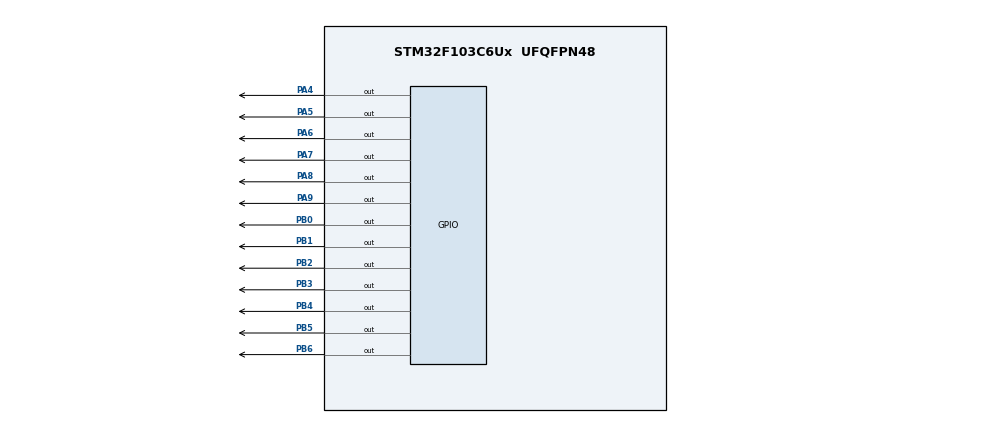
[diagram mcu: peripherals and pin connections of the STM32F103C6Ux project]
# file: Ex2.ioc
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Mcu.Family=STM32F1
Mcu.Name=STM32F103C6Ux
Mcu.Package=UFQFPN48
NVIC.PriorityGroup=NVIC_PRIORITYGROUP_4
NVIC.TIM2_IRQn=true\:0\:0\:false\:false\:true\:true\:true
PA4.Signal=GPIO_Output
PA5.Signal=GPIO_Output
PA6.Signal=GPIO_Output
PA7.Signal=GPIO_Output
PA8.Signal=GPIO_Output
PA9.Signal=GPIO_Output
PB0.Signal=GPIO_Output
PB1.Signal=GPIO_Output
PB2.Signal=GPIO_Output
PB3.Signal=GPIO_Output
PB4.Signal=GPIO_Output
PB5.Signal=GPIO_Output
PB6.Signal=GPIO_Output
ProjectManager.HeapSize=0x200
ProjectManager.StackSize=0x400
ProjectManager.TargetToolchain=STM32CubeIDE
RCC.APB1Freq_Value=8000000
RCC.APB2Freq_Value=8000000
TIM2.Period=9
TIM2.Prescaler=7999
VP_SYS_VS_ND.Mode=No_Debug
VP_TIM2_VS_ClockSourceINT.Mode=Internal
board=custom

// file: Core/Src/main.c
/* USER CODE BEGIN Header */
/**
  ******************************************************************************
  * @file           : main.c
  * @brief          : Main program body
  ******************************************************************************
  * @attention
  *
  * <h2><center>&copy; Copyright (c) 2022 STMicroelectronics.
  * All rights reserved.</center></h2>
  *
  * This software component is licensed by ST under BSD 3-Clause license,
  * the "License"; You may not use this file except in compliance with the
  * License. You may obtain a copy of the License at:
  *                        opensource.org/licenses/BSD-3-Clause
  *
  ******************************************************************************
  */
/* USER CODE END Header */
#include "main.h"

/* USER CODE BEGIN Includes */
#include "software_timer.h"

/* USER CODE END Includes */

TIM_HandleTypeDef htim2;

void SystemClock_Config(void);
static void MX_GPIO_Init(void);
static void MX_TIM2_Init(void);

/* USER CODE BEGIN 0 */
int arr[10] = {
		0x00C0,  //0
		0x00F9,  //1
		0x00A4,  //2
		0x00B0,  //3
		0x0099,  //4
		0x0092,  //5
		0x0082,  //6
		0x00F8,  //7
		0x0080,  //8
		0x0090,  //9
};
void display_7segment(int number){
//	HAL_GPIO_WritePin(GPIOB,GPIO_PIN_0,(number>>0)&0x01);
//	HAL_GPIO_WritePin(GPIOB,GPIO_PIN_1,(number>>1)&0x01);
//	HAL_GPIO_WritePin(GPIOB,GPIO_PIN_2,(number>>2)&0x01);
//	HAL_GPIO_WritePin(GPIOB,GPIO_PIN_3,(number>>3)&0x01);
//	HAL_GPIO_WritePin(GPIOB,GPIO_PIN_4,(number>>4)&0x01);
//	HAL_GPIO_WritePin(GPIOB,GPIO_PIN_5,(number>>5)&0x01);
//	HAL_GPIO_WritePin(GPIOB,GPIO_PIN_6,(number>>6)&0x01);
	GPIOB->ODR = arr[number];
}
/* USER CODE END 0 */

int main(void)
{

  /* MCU Configuration--------------------------------------------------------*/

  /* Reset of all peripherals, Initializes the Flash interface and the Systick. */
  HAL_Init();

  /* Configure the system clock */
  SystemClock_Config();

  /* Initialize all configured peripherals */
  MX_GPIO_Init();
  MX_TIM2_Init();
  /* USER CODE BEGIN 2 */
  HAL_TIM_Base_Start_IT (& htim2 ) ;
  /* USER CODE END 2 */

  /* Infinite loop */
  while (1)
  {

  }
}

void SystemClock_Config(void)
{
  RCC_OscInitTypeDef RCC_OscInitStruct = {0};
  RCC_ClkInitTypeDef RCC_ClkInitStruct = {0};

  /** Initializes the RCC Oscillators according to the specified parameters
  * in the RCC_OscInitTypeDef structure.
  */
  RCC_OscInitStruct.OscillatorType = RCC_OSCILLATORTYPE_HSI;
  RCC_OscInitStruct.HSIState = RCC_HSI_ON;
  RCC_OscInitStruct.HSICalibrationValue = RCC_HSICALIBRATION_DEFAULT;
  RCC_OscInitStruct.PLL.PLLState = RCC_PLL_NONE;
  if (HAL_RCC_OscConfig(&RCC_OscInitStruct) != HAL_OK)
  {
    Error_Handler();
  }
  /** Initializes the CPU, AHB and APB buses clocks
  */
  RCC_ClkInitStruct.ClockType = RCC_CLOCKTYPE_HCLK|RCC_CLOCKTYPE_SYSCLK
                              |RCC_CLOCKTYPE_PCLK1|RCC_CLOCKTYPE_PCLK2;
  RCC_ClkInitStruct.SYSCLKSource = RCC_SYSCLKSOURCE_HSI;
  RCC_ClkInitStruct.AHBCLKDivider = RCC_SYSCLK_DIV1;
  RCC_ClkInitStruct.APB1CLKDivider = RCC_HCLK_DIV1;
  RCC_ClkInitStruct.APB2CLKDivider = RCC_HCLK_DIV1;

  if (HAL_RCC_ClockConfig(&RCC_ClkInitStruct, FLASH_LATENCY_0) != HAL_OK)
  {
    Error_Handler();
  }
}

static void MX_TIM2_Init(void)
{

  TIM_ClockConfigTypeDef sClockSourceConfig = {0};
  TIM_MasterConfigTypeDef sMasterConfig = {0};

  htim2.Instance = TIM2;
  htim2.Init.Prescaler = 7999;
  htim2.Init.CounterMode = TIM_COUNTERMODE_UP;
  htim2.Init.Period = 9;
  htim2.Init.ClockDivision = TIM_CLOCKDIVISION_DIV1;
  htim2.Init.AutoReloadPreload = TIM_AUTORELOAD_PRELOAD_DISABLE;
  if (HAL_TIM_Base_Init(&htim2) != HAL_OK)
  {
    Error_Handler();
  }
  sClockSourceConfig.ClockSource = TIM_CLOCKSOURCE_INTERNAL;
  if (HAL_TIM_ConfigClockSource(&htim2, &sClockSourceConfig) != HAL_OK)
  {
    Error_Handler();
  }
  sMasterConfig.MasterOutputTrigger = TIM_TRGO_RESET;
  sMasterConfig.MasterSlaveMode = TIM_MASTERSLAVEMODE_DISABLE;
  if (HAL_TIMEx_MasterConfigSynchronization(&htim2, &sMasterConfig) != HAL_OK)
  {
    Error_Handler();
  }

}

static void MX_GPIO_Init(void)
{
  GPIO_InitTypeDef GPIO_InitStruct = {0};

  /* GPIO Ports Clock Enable */
  __HAL_RCC_GPIOA_CLK_ENABLE();
  __HAL_RCC_GPIOB_CLK_ENABLE();

  /*Configure GPIO pin Output Level */
  HAL_GPIO_WritePin(GPIOA, GPIO_PIN_4|GPIO_PIN_5|GPIO_PIN_6|GPIO_PIN_7
                          |GPIO_PIN_8|GPIO_PIN_9, GPIO_PIN_RESET);

  /*Configure GPIO pin Output Level */
  HAL_GPIO_WritePin(GPIOB, GPIO_PIN_0|GPIO_PIN_1|GPIO_PIN_2|GPIO_PIN_3
                          |GPIO_PIN_4|GPIO_PIN_5|GPIO_PIN_6, GPIO_PIN_RESET);

  /*Configure GPIO pins : PA4 PA5 PA6 PA7
                           PA8 PA9 */
  GPIO_InitStruct.Pin = GPIO_PIN_4|GPIO_PIN_5|GPIO_PIN_6|GPIO_PIN_7
                          |GPIO_PIN_8|GPIO_PIN_9;
  GPIO_InitStruct.Mode = GPIO_MODE_OUTPUT_PP;
  GPIO_InitStruct.Pull = GPIO_NOPULL;
  GPIO_InitStruct.Speed = GPIO_SPEED_FREQ_LOW;
  HAL_GPIO_Init(GPIOA, &GPIO_InitStruct);

  /*Configure GPIO pins : PB0 PB1 PB2 PB3
                           PB4 PB5 PB6 */
  GPIO_InitStruct.Pin = GPIO_PIN_0|GPIO_PIN_1|GPIO_PIN_2|GPIO_PIN_3
                          |GPIO_PIN_4|GPIO_PIN_5|GPIO_PIN_6;
  GPIO_InitStruct.Mode = GPIO_MODE_OUTPUT_PP;
  GPIO_InitStruct.Pull = GPIO_NOPULL;
  GPIO_InitStruct.Speed = GPIO_SPEED_FREQ_LOW;
  HAL_GPIO_Init(GPIOB, &GPIO_InitStruct);

}

/* USER CODE BEGIN 4 */
int cnt1 = 100;
int cnt2 = 0;
int en[4] = {0,1,1,1};
int index_led = 3;
int nums[4] = {1,2,3,0};
void HAL_TIM_PeriodElapsedCallback ( TIM_HandleTypeDef * htim ){
	cnt1--;
	cnt2--;
	if(cnt1 <= 0){
		cnt1 = 100;
		HAL_GPIO_TogglePin(GPIOA,GPIO_PIN_4);
		HAL_GPIO_TogglePin(GPIOA,GPIO_PIN_5);
	}
	if(cnt2 <= 0){
		cnt2 = 50;
		en[index_led] = 1;
		index_led = (index_led+1)%4;
		en[index_led] = 0;
		HAL_GPIO_WritePin(GPIOA,GPIO_PIN_6,en[0]);
		HAL_GPIO_WritePin(GPIOA,GPIO_PIN_7,en[1]);
		HAL_GPIO_WritePin(GPIOA,GPIO_PIN_8,en[2]);
		HAL_GPIO_WritePin(GPIOA,GPIO_PIN_9,en[3]);
		display_7segment(nums[index_led]);
	}
}

/* USER CODE END 4 */

void Error_Handler(void)
{
  __disable_irq();
  while (1)
  {
  }
}

/************************ (C) COPYRIGHT STMicroelectronics *****END OF FILE****/
